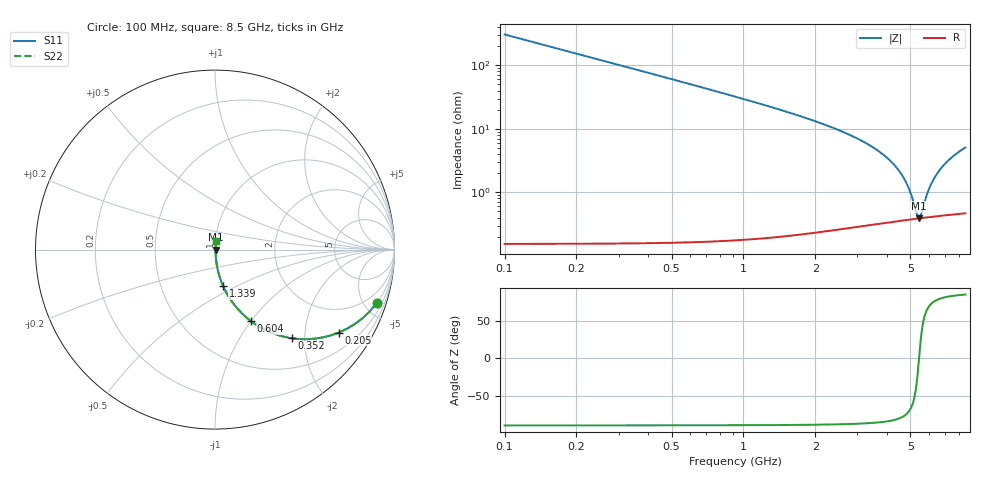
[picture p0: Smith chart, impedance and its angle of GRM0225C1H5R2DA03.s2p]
!Murata Part Number: GRM0225C1H5R2DA03
!These Parameters are Measured in Series Mode Connection
!Data Generated on Mar 30, 2021
!  o--ll--o
!Port1  Port2
!  o------o
!Operation Temp=25[degC], DC Bias Voltage=0[V]
!Freq. Start=100[MHz] Stop=9[GHz] 401[Steps]
# Hz S RI R 50
!Freq.(Hz) S11(Real) S11(Imag) S21(Real) S21(Imag) S12(Real) S12(Imag) S22(Real) S22(Imag)
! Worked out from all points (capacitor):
!   401 points, 100 MHz to 8.5 GHz, reference 50 ohm
!   read as one part in series: C = 5.2 pF near 142 MHz
!   lowest |Z| = 389 mohm at 5.434 GHz (marker M1)
!   series resonance near 5.438 GHz, so ESL is about 160 pH
!   S11 on the Smith chart (normalised r, x): 100 MHz: 1.00, -6.12; 205 MHz: 1.00, -2.98; 352 MHz: 1.00, -1.73; 604 MHz: 1.00, -1.00; 1.339 GHz: 1.00, -0.43; 8.5 GHz: 1.01, +0.10
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1e8  0.9034 -0.2952  0.0966 0.2952  0.0966 0.2952  0.9034 -0.2952
2.05e8  0.6895 -0.4622  0.3105 0.4622  0.3105 0.4622  0.6895 -0.4622
3.52e8  0.4285 -0.494  0.5715 0.494  0.5715 0.494  0.4285 -0.494
4.78e8  0.2879 -0.4515  0.7121 0.4515  0.7121 0.4515  0.2879 -0.4515
6.04e8  0.2009 -0.399  0.7991 0.399  0.7991 0.399  0.2009 -0.399
8.98e8  0.1 -0.2974  0.9 0.2974  0.9 0.2974  0.1 -0.2974
1.339e9  0.0455 -0.2039  0.9545 0.2039  0.9545 0.2039  0.0455 -0.2039
1.507e9  0.0355 -0.1798  0.9645 0.1798  0.9645 0.1798  0.0355 -0.1798
2.914e9  0.00822 -0.0733  0.9918 0.0733  0.9918 0.0733  0.00822 -0.0733
3.733e9  0.00501 -0.0424  0.995 0.0424  0.995 0.0424  0.00501 -0.0424
4.3e9  0.00413 -0.0261  0.9959 0.0261  0.9959 0.0261  0.00413 -0.0261
4.867e9  0.00382 -0.0122  0.9962 0.0122  0.9962 0.0122  0.00382 -0.0122
5.077e9  0.0038 -0.00754  0.9962 0.00754  0.9962 0.00754  0.0038 -0.00754
5.329e9  0.00384 -0.00221  0.9962 0.00221  0.9962 0.00221  0.00384 -0.00221
5.434e9  0.00387 -7.38e-05  0.9961 7.38e-05  0.9961 7.38e-05  0.00387 -7.38e-05
5.518e9  0.0039 0.00161  0.9961 -0.00161  0.9961 -0.00161  0.0039 0.00161
5.707e9  0.00399 0.0053  0.996 -0.0053  0.996 -0.0053  0.00399 0.0053
5.959e9  0.00414 0.01  0.9959 -0.01  0.9959 -0.01  0.00414 0.01
6.253e9  0.00436 0.0153  0.9956 -0.0153  0.9956 -0.0153  0.00436 0.0153
6.631e9  0.00471 0.0218  0.9953 -0.0218  0.9953 -0.0218  0.00471 0.0218
7.114e9  0.00524 0.0296  0.9948 -0.0296  0.9948 -0.0296  0.00524 0.0296
8.5e9  0.00717 0.0501  0.9928 -0.0501  0.9928 -0.0501  0.00717 0.0501
